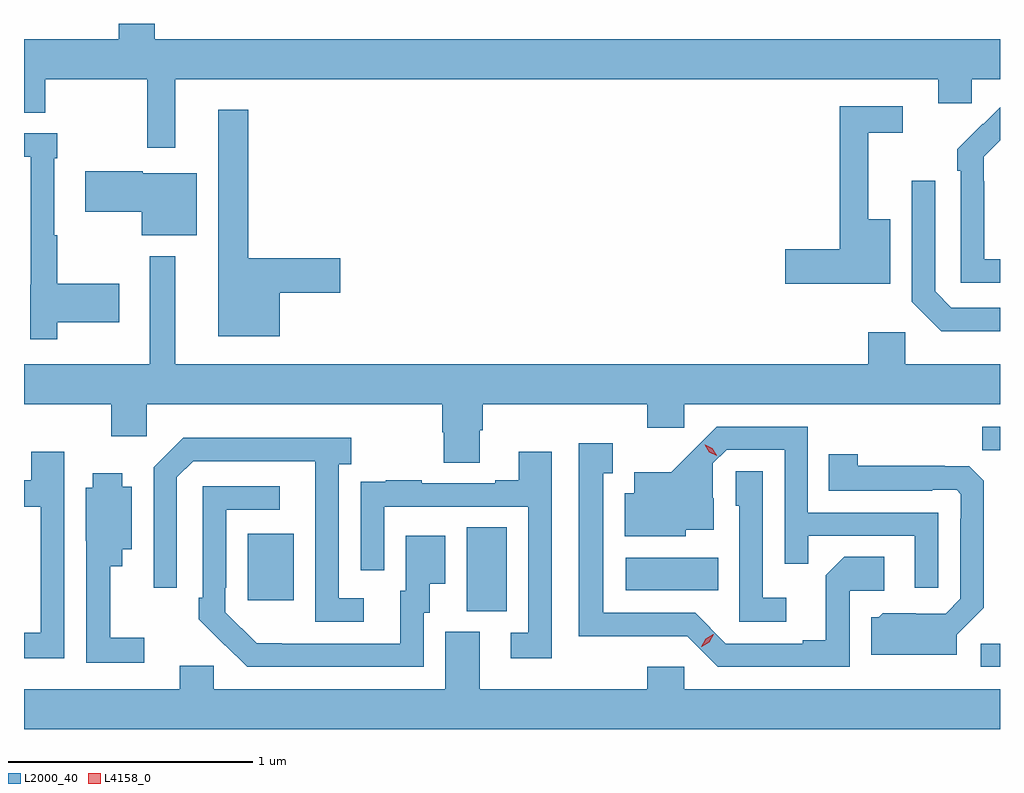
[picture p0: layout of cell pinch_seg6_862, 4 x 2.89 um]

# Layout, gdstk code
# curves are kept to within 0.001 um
import gdstk
lib = gdstk.Library(unit=1e-6, precision=1e-09)
def R(c, l, rs):  # rectangles x0, y0, x1, y1
    for r in rs: c.add(gdstk.rectangle(r[:2], r[2:], *l))
def P(c, l, *ps):  # polygons
    for p in ps: c.add(gdstk.Polygon(p, *l))
L2000_40 = (2000, 40)
L4158_0 = (4158, 0)

pinch_seg6_862 = lib.new_cell('pinch_seg6_862')
R(pinch_seg6_862, L2000_40, [(159.477,923.616,159.556,923.712), (157.37,923.845,157.534,924.188), (156.473,923.889,156.661,924.163), (158.022,923.93,158.402,924.064), (159.484,924.505,159.556,924.6)])
P(pinch_seg6_862, L2000_40, [(156.175,926.024),(159.302,926.024),(159.302,925.926),(159.441,925.926),(159.441,926.024),(159.556,926.024),(159.556,926.188),(156.091,926.188),(156.091,926.253),(155.944,926.253),(155.944,926.188),(155.556,926.188),(155.556,925.888),(155.643,925.888),(155.643,926.024),(156.061,926.024),(156.061,925.743),(156.175,925.743)],
  [(159.106,925.45),(159.017,925.45),(159.017,925.806),(159.157,925.806),(159.157,925.914),(158.899,925.914),(158.899,925.328),(158.676,925.328),(158.676,925.186),(159.106,925.186)],
  [(159.556,925.287),(159.492,925.287),(159.492,925.607),(159.489,925.607),(159.489,925.707),(159.556,925.774),(159.556,925.91),(159.381,925.737),(159.381,925.649),(159.396,925.649),(159.396,925.191),(159.556,925.191)],
  [(156.604,925.15),(156.853,925.15),(156.853,925.292),(156.475,925.292),(156.475,925.9),(156.353,925.9),(156.353,924.971),(156.604,924.971)],
  [(155.692,925.028),(155.947,925.028),(155.947,925.186),(155.692,925.186),(155.692,925.385),(155.679,925.385),(155.679,925.7),(155.692,925.7),(155.692,925.803),(155.556,925.803),(155.556,925.707),(155.583,925.707),(155.583,925.182),(155.582,925.182),(155.582,924.96),(155.692,924.96)],
  [(156.265,925.639),(156.042,925.639),(156.042,925.647),(155.808,925.647),(155.808,925.481),(156.038,925.481),(156.038,925.385),(156.265,925.385)],
  [(159.556,925.089),(159.357,925.089),(159.291,925.155),(159.291,925.609),(159.195,925.609),(159.195,925.113),(159.316,924.992),(159.556,924.992)],
  [(157.423,924.586),(157.436,924.586),(157.436,924.692),(158.111,924.692),(158.111,924.597),(158.262,924.597),(158.262,924.692),(159.556,924.692),(159.556,924.856),(159.168,924.856),(159.168,924.988),(159.017,924.988),(159.017,924.856),(156.175,924.856),(156.175,925.3),(156.071,925.3),(156.071,924.856),(155.556,924.856),(155.556,924.692),(155.914,924.692),(155.914,924.561),(156.06,924.561),(156.06,924.692),(157.271,924.692),(157.271,924.579),(157.276,924.579),(157.276,924.454),(157.423,924.454)],
  [(159.303,924.249),(158.769,924.249),(158.769,924.6),(158.396,924.6),(158.209,924.415),(158.057,924.415),(158.057,924.328),(158.018,924.328),(158.018,924.152),(158.268,924.152),(158.268,924.179),(158.383,924.179),(158.383,924.308),(158.379,924.308),(158.379,924.45),(158.436,924.507),(158.673,924.507),(158.673,924.04),(158.771,924.04),(158.771,924.153),(159.207,924.153),(159.207,923.94),(159.303,923.94)],
  [(156.949,923.898),(156.846,923.898),(156.846,924.446),(156.898,924.446),(156.898,924.556),(156.208,924.556),(156.087,924.435),(156.087,923.94),(156.183,923.94),(156.183,924.393),(156.249,924.459),(156.749,924.459),(156.75,923.802),(156.949,923.802)],
  [(158.94,923.928),(159.082,923.928),(159.082,924.068),(158.917,924.068),(158.841,923.992),(158.841,923.725),(158.747,923.725),(158.747,923.712),(158.433,923.712),(158.307,923.838),(157.93,923.838),(157.93,924.411),(157.969,924.411),(157.969,924.532),(157.829,924.532),(157.829,923.741),(158.274,923.742),(158.4,923.616),(158.94,923.616)],
  [(155.721,924.499),(155.585,924.499),(155.585,924.382),(155.556,924.382),(155.556,924.273),(155.625,924.273),(155.625,923.757),(155.556,923.757),(155.556,923.652),(155.721,923.652)],
  [(157.719,924.499),(157.583,924.499),(157.583,924.382),(157.487,924.382),(157.487,924.369),(157.187,924.369),(157.187,924.382),(157.039,924.382),(157.039,924.375),(156.937,924.375),(156.937,924.266),(156.936,924.266),(156.936,924.012),(157.032,924.012),(157.032,924.273),(157.623,924.273),(157.623,923.757),(157.551,923.757),(157.551,923.652),(157.719,923.652)],
  [(159.379,923.748),(159.489,923.858),(159.489,924.38),(159.43,924.439),(158.973,924.44),(158.973,924.487),(158.854,924.487),(158.854,924.339),(159.278,924.339),(159.278,924.342),(159.378,924.342),(159.396,924.324),(159.396,924.224),(159.393,924.224),(159.393,923.895),(159.333,923.835),(159.076,923.836),(159.06,923.82),(159.029,923.82),(159.029,923.666),(159.379,923.666)],
  [(158.68,923.899),(158.583,923.899),(158.583,924.419),(158.472,924.419),(158.472,924.276),(158.487,924.276),(158.487,923.802),(158.68,923.802)],
  [(156.049,923.735),(155.909,923.735),(155.909,924.029),(155.959,924.029),(155.959,924.098),(155.998,924.098),(155.998,924.355),(155.959,924.355),(155.959,924.409),(155.837,924.409),(155.837,924.351),(155.81,924.351),(155.81,924.133),(155.811,924.133),(155.811,923.634),(156.049,923.634)],
  [(157.194,923.838),(157.219,923.838),(157.219,923.957),(157.282,923.957),(157.282,924.154),(157.121,924.154),(157.121,923.928),(157.097,923.928),(157.097,923.712),(156.51,923.713),(156.381,923.841),(156.381,923.941),(156.384,923.941),(156.384,924.261),(156.604,924.261),(156.604,924.357),(156.288,924.357),(156.288,923.899),(156.273,923.899),(156.273,923.811),(156.47,923.616),(157.194,923.616)],
  [(159.556,923.524),(158.262,923.524),(158.262,923.617),(158.111,923.617),(158.111,923.524),(157.423,923.524),(157.423,923.76),(157.283,923.76),(157.283,923.524),(156.333,923.524),(156.333,923.622),(156.194,923.622),(156.194,923.524),(155.556,923.524),(155.556,923.36),(159.556,923.36)])
P(pinch_seg6_862, L4158_0, [(158.332,923.699),(158.332,923.699),(158.35,923.731),(158.381,923.75),(158.382,923.75),(158.382,923.75),(158.364,923.717),(158.333,923.699)],
  [(158.395,924.482),(158.364,924.497),(158.346,924.527),(158.346,924.527),(158.347,924.527),(158.377,924.512),(158.395,924.483),(158.395,924.482)])

lib.write_gds('pinch_seg6_862.gds')
